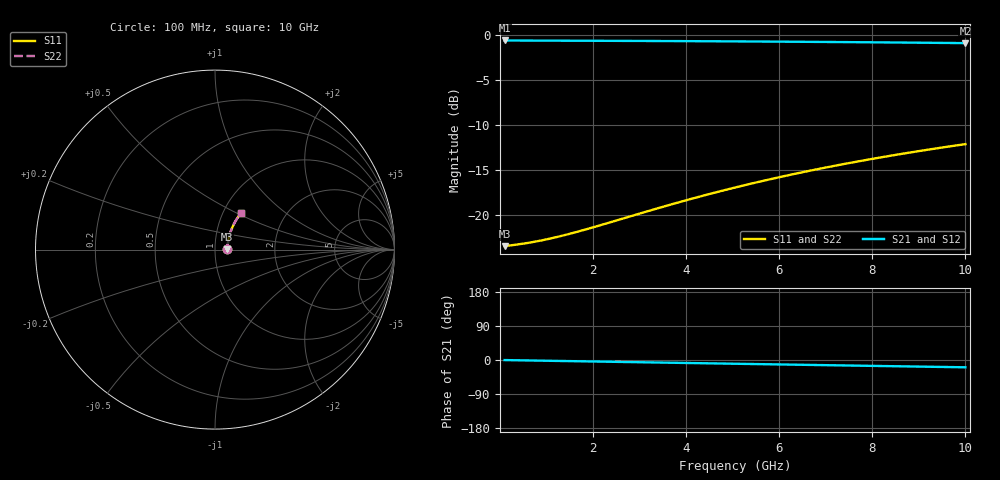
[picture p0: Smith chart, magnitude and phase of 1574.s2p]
# Hz S RI R 50.00
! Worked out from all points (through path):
!   100 points, 100 MHz to 10 GHz, reference 50 ohm
!   highest |S21| = -0.61 dB at 100 MHz (marker M1); lowest = -0.9 dB at 10 GHz (marker M2)
!   group delay of S21, straight-line fit = 5.36 ps
!   lowest |S11| = -23.4 dB at 100 MHz (marker M3), VSWR 1.14, Z = 57.2 + j0.26 ohm
!   |S11| at or under -10 dB: start of sweep to end of sweep
!   |S22| runs from -23.4 to -12.1 dB; largest |S21 - S12| = 0
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1e8  0.0675 0.00226  0.9325 -0.00321  0.9325 -0.00321  0.0675 0.00226
5e8  0.0689 0.0113  0.9311 -0.016  0.9311 -0.016  0.0689 0.0113
7e8  0.0694 0.0157  0.9306 -0.0224  0.9306 -0.0224  0.0694 0.0157
9e8  0.0699 0.0202  0.93 -0.0288  0.93 -0.0288  0.0699 0.0202
1.1e9  0.0705 0.0247  0.9295 -0.0351  0.9295 -0.0351  0.0705 0.0247
1.3e9  0.0711 0.0291  0.9289 -0.0415  0.9289 -0.0415  0.0711 0.0291
1.5e9  0.0717 0.0336  0.9282 -0.0478  0.9282 -0.0478  0.0717 0.0336
1.8e9  0.0727 0.0402  0.9272 -0.0573  0.9272 -0.0573  0.0727 0.0402
2.2e9  0.0742 0.0491  0.9256 -0.07  0.9256 -0.07  0.0742 0.0491
3.4e9  0.0799 0.0752  0.9195 -0.1075  0.9195 -0.1075  0.0799 0.0752
3.9e9  0.0829 0.0859  0.9164 -0.1229  0.9164 -0.1229  0.0829 0.0859
4.3e9  0.0855 0.0944  0.9136 -0.1352  0.9136 -0.1352  0.0855 0.0944
4.7e9  0.0884 0.1028  0.9106 -0.1474  0.9106 -0.1474  0.0884 0.1028
5.1e9  0.0914 0.1111  0.9074 -0.1595  0.9074 -0.1595  0.0914 0.1111
5.5e9  0.0947 0.1192  0.9039 -0.1715  0.9039 -0.1715  0.0947 0.1192
5.9e9  0.0981 0.1273  0.9002 -0.1834  0.9002 -0.1834  0.0981 0.1273
6.3e9  0.1018 0.1353  0.8963 -0.1951  0.8963 -0.1951  0.1018 0.1353
6.7e9  0.1056 0.1431  0.8922 -0.2068  0.8922 -0.2068  0.1056 0.1431
7.5e9  0.1139 0.1583  0.8834 -0.2296  0.8834 -0.2296  0.1139 0.1583
8.4e9  0.1242 0.1748  0.8725 -0.2547  0.8725 -0.2547  0.1242 0.1748
9.2e9  0.134 0.1888  0.862 -0.2764  0.862 -0.2764  0.134 0.1888
1e10  0.1444 0.2022  0.8508 -0.2974  0.8508 -0.2974  0.1444 0.2022
